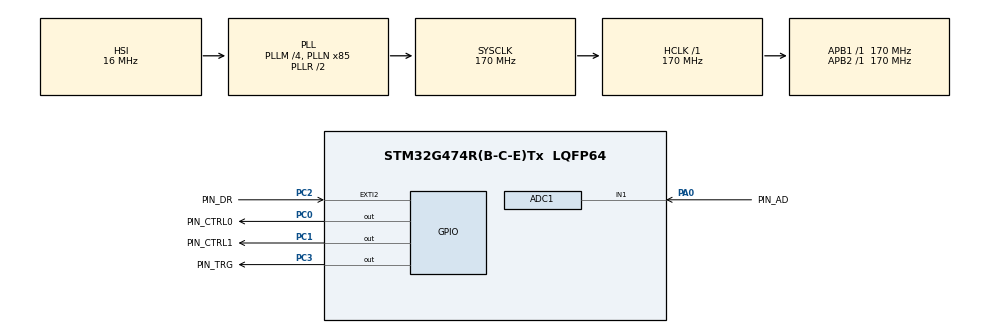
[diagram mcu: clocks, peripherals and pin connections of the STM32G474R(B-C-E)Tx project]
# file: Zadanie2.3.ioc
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ADC1.Channel-0\#ChannelRegularConversion=ADC_CHANNEL_1
ADC1.NbrOfConversionFlag=1
ADC1.OffsetNumber-0\#ChannelRegularConversion=ADC_OFFSET_NONE
ADC1.Rank-0\#ChannelRegularConversion=1
ADC1.SamplingTime-0\#ChannelRegularConversion=ADC_SAMPLETIME_2CYCLES_5
ADC1.master=1
Mcu.Family=STM32G4
Mcu.Name=STM32G474R(B-C-E)Tx
Mcu.Package=LQFP64
NVIC.ADC1_2_IRQn=true\:0\:0\:false\:false\:true\:true\:true\:true
NVIC.EXTI2_IRQn=true\:0\:0\:false\:false\:true\:true\:true\:true
NVIC.PriorityGroup=NVIC_PRIORITYGROUP_4
NVIC.TIM2_IRQn=true\:0\:0\:false\:false\:true\:true\:true\:true
PA0.GPIO_Label=PIN_AD
PA0.Mode=IN1-Single-Ended
PA0.Signal=ADC1_IN1
PC0.GPIO_Label=PIN_CTRL0
PC0.Signal=GPIO_Output
PC1.GPIO_Label=PIN_CTRL1
PC1.Signal=GPIO_Output
PC2.GPIO_Label=PIN_DR
PC2.GPIO_PuPd=GPIO_PULLDOWN
PC2.Signal=GPXTI2
PC3.GPIO_Label=PIN_TRG
PC3.Signal=GPIO_Output
ProjectManager.HeapSize=0x200
ProjectManager.StackSize=0x400
ProjectManager.TargetToolchain=CMake
RCC.ADC12Freq_Value=170000000
RCC.ADC345Freq_Value=170000000
RCC.AHBFreq_Value=170000000
RCC.APB1Freq_Value=170000000
RCC.APB1TimFreq_Value=170000000
RCC.APB2Freq_Value=170000000
RCC.APB2TimFreq_Value=170000000
RCC.CortexFreq_Value=170000000
RCC.EXTERNAL_CLOCK_VALUE=12288000
RCC.HCLKFreq_Value=170000000
RCC.HSE_VALUE=8000000
RCC.HSI48_VALUE=48000000
RCC.HSI_VALUE=16000000
RCC.LSE_VALUE=32768
RCC.PLLM=RCC_PLLM_DIV4
RCC.PLLN=85
RCC.SYSCLKFreq_VALUE=170000000
RCC.SYSCLKSource=RCC_SYSCLKSOURCE_PLLCLK
RCC.USBFreq_Value=170000000
RCC.VCOOutputFreq_Value=340000000
TIM2.PeriodNoDither=100
TIM2.Prescaler=17000
VP_SYS_VS_DBSignals.Mode=DisableDeadBatterySignals
VP_TIM2_VS_ClockSourceINT.Mode=Internal
board=custom

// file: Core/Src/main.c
/* USER CODE BEGIN Header */
/**
  ******************************************************************************
  * @file           : main.c
  * @brief          : Main program body
  ******************************************************************************
  * @attention
  *
  * Copyright (c) 2025 STMicroelectronics.
  * All rights reserved.
  *
  * This software is licensed under terms that can be found in the LICENSE file
  * in the root directory of this software component.
  * If no LICENSE file comes with this software, it is provided AS-IS.
  *
  ******************************************************************************
  */
/* USER CODE END Header */
#include "main.h"

/* USER CODE BEGIN Includes */
#include "math.h"
/* USER CODE END Includes */

ADC_HandleTypeDef hadc1;

TIM_HandleTypeDef htim2;

void SystemClock_Config(void);
static void MX_GPIO_Init(void);
static void MX_ADC1_Init(void);
static void MX_TIM2_Init(void);

/* USER CODE BEGIN 0 */

#define MAX_ADC_VAL 4095 // // ADC resolution -> 2 ^ 12 - 1

enum SoilMeasurementType
{
	Moisture,
	pH,
	Temperature,
	Max
} currentSoilMeasurementType = Moisture;

struct SoilValues{
	float moisture;
	float pH;
	float temperature;
} soilValues={0,0,0}; // Always up to date measurements

struct SoilMeasurementsSettings
{
	float minSoilMoistureV;
	float maxSoilMoistureV;
	float minSoilMoisture;
	float maxSoilMoisture;

	float refPH;
	float refPHV;

	float refT0AtV0;
	float refV0AtT0;
	float kFactor;
} soilMeasurementsSettings = {0,MAX_ADC_VAL,0,0,7,MAX_ADC_VAL/2,273,0,0.25f/MAX_ADC_VAL};

uint8_t soilMeasurementInProgress = 0, measureSoilInLoop = 0;

void StartSoilMeasurement(enum SoilMeasurementType type)
{
	if (soilMeasurementInProgress) return;
	uint8_t ctrl0, ctrl1;
	switch(type)
	{
	case Moisture: ctrl0 = 0; ctrl1 = 0;
		break;
	case pH: ctrl0 = 0; ctrl1 = 1;
		break;
	case Temperature: ctrl0 = 1; ctrl1 = 0;
		break;
	default: return;
	}

	currentSoilMeasurementType = type;
	soilMeasurementInProgress = 1;
	HAL_GPIO_WritePin(PIN_CTRL0_GPIO_Port, PIN_CTRL0_Pin, ctrl0);
	HAL_GPIO_WritePin(PIN_CTRL1_GPIO_Port, PIN_CTRL1_Pin, ctrl1);

	HAL_GPIO_WritePin(PIN_TRG_GPIO_Port, PIN_TRG_Pin, 1);
	HAL_TIM_Base_Start_IT(&htim2);
}

void StartSoilMeasurementsInLoop()
{
	  measureSoilInLoop = 1;
	  StartSoilMeasurement(Moisture);
}

void StopSoilMeasurement()
{
	soilMeasurementInProgress = 0;
}

void ProcessSoilMeasurement()
{
	if (!soilMeasurementInProgress) return;
		const float soilMeasurement = HAL_ADC_GetValue(&hadc1);

		switch(currentSoilMeasurementType)
		{
		case Moisture:
			soilValues.moisture = (soilMeasurement - soilMeasurementsSettings.minSoilMoistureV) /
								  (soilMeasurementsSettings.maxSoilMoistureV - soilMeasurementsSettings.minSoilMoistureV) *
								  (soilMeasurementsSettings.maxSoilMoisture - soilMeasurementsSettings.minSoilMoisture) +
								  soilMeasurementsSettings.minSoilMoisture;
			break;
		case pH:
			soilValues.pH = soilMeasurementsSettings.refPH + log10f(soilMeasurement / soilMeasurementsSettings.refPHV);
			break;
		case Temperature:
			soilValues.temperature = soilMeasurementsSettings.refT0AtV0 *
									 expf(soilMeasurementsSettings.kFactor * (soilMeasurement - soilMeasurementsSettings.refV0AtT0));
			break;
		default: return;
		}

		soilMeasurementInProgress = 0;
		if (measureSoilInLoop)
			StartSoilMeasurement((currentSoilMeasurementType + 1) % (uint8_t)Max);
}

void HAL_ADC_ConvCpltCallback(ADC_HandleTypeDef *hadc)
{
	ProcessSoilMeasurement();
}

void SoilDataReady()
{
	if (!soilMeasurementInProgress) return;
	HAL_ADC_Start_IT(&hadc1);
}

void HAL_GPIO_EXTI_Callback(uint16_t GPIO_Pin)
{
	if (GPIO_Pin == PIN_DR_Pin) SoilDataReady();
}

void HAL_TIM_PeriodElapsedCallback(TIM_HandleTypeDef *htim)
{
	if (htim == &htim2)
	{
		HAL_TIM_Base_Stop_IT(&htim2);
		HAL_GPIO_WritePin(PIN_TRG_GPIO_Port, PIN_TRG_Pin, 0);
	}
}
/* USER CODE END 0 */

int main(void)
{

  /* MCU Configuration--------------------------------------------------------*/

  /* Reset of all peripherals, Initializes the Flash interface and the Systick. */
  HAL_Init();

  /* Configure the system clock */
  SystemClock_Config();

  /* Initialize all configured peripherals */
  MX_GPIO_Init();
  MX_ADC1_Init();
  MX_TIM2_Init();
  /* USER CODE BEGIN 2 */

  // Start measuring soil in loop
  StartSoilMeasurementsInLoop();
  /* USER CODE END 2 */

  /* Infinite loop */
  while (1)
  {

  }
}

void SystemClock_Config(void)
{
  RCC_OscInitTypeDef RCC_OscInitStruct = {0};
  RCC_ClkInitTypeDef RCC_ClkInitStruct = {0};

  /** Configure the main internal regulator output voltage
  */
  HAL_PWREx_ControlVoltageScaling(PWR_REGULATOR_VOLTAGE_SCALE1_BOOST);

  /** Initializes the RCC Oscillators according to the specified parameters
  * in the RCC_OscInitTypeDef structure.
  */
  RCC_OscInitStruct.OscillatorType = RCC_OSCILLATORTYPE_HSI;
  RCC_OscInitStruct.HSIState = RCC_HSI_ON;
  RCC_OscInitStruct.HSICalibrationValue = RCC_HSICALIBRATION_DEFAULT;
  RCC_OscInitStruct.PLL.PLLState = RCC_PLL_ON;
  RCC_OscInitStruct.PLL.PLLSource = RCC_PLLSOURCE_HSI;
  RCC_OscInitStruct.PLL.PLLM = RCC_PLLM_DIV4;
  RCC_OscInitStruct.PLL.PLLN = 85;
  RCC_OscInitStruct.PLL.PLLP = RCC_PLLP_DIV2;
  RCC_OscInitStruct.PLL.PLLQ = RCC_PLLQ_DIV2;
  RCC_OscInitStruct.PLL.PLLR = RCC_PLLR_DIV2;
  if (HAL_RCC_OscConfig(&RCC_OscInitStruct) != HAL_OK)
  {
    Error_Handler();
  }

  /** Initializes the CPU, AHB and APB buses clocks
  */
  RCC_ClkInitStruct.ClockType = RCC_CLOCKTYPE_HCLK|RCC_CLOCKTYPE_SYSCLK
                              |RCC_CLOCKTYPE_PCLK1|RCC_CLOCKTYPE_PCLK2;
  RCC_ClkInitStruct.SYSCLKSource = RCC_SYSCLKSOURCE_PLLCLK;
  RCC_ClkInitStruct.AHBCLKDivider = RCC_SYSCLK_DIV1;
  RCC_ClkInitStruct.APB1CLKDivider = RCC_HCLK_DIV1;
  RCC_ClkInitStruct.APB2CLKDivider = RCC_HCLK_DIV1;

  if (HAL_RCC_ClockConfig(&RCC_ClkInitStruct, FLASH_LATENCY_4) != HAL_OK)
  {
    Error_Handler();
  }
}

static void MX_ADC1_Init(void)
{

  ADC_MultiModeTypeDef multimode = {0};
  ADC_ChannelConfTypeDef sConfig = {0};

  /** Common config
  */
  hadc1.Instance = ADC1;
  hadc1.Init.ClockPrescaler = ADC_CLOCK_SYNC_PCLK_DIV4;
  hadc1.Init.Resolution = ADC_RESOLUTION_12B;
  hadc1.Init.DataAlign = ADC_DATAALIGN_RIGHT;
  hadc1.Init.GainCompensation = 0;
  hadc1.Init.ScanConvMode = ADC_SCAN_DISABLE;
  hadc1.Init.EOCSelection = ADC_EOC_SINGLE_CONV;
  hadc1.Init.LowPowerAutoWait = DISABLE;
  hadc1.Init.ContinuousConvMode = DISABLE;
  hadc1.Init.NbrOfConversion = 1;
  hadc1.Init.DiscontinuousConvMode = DISABLE;
  hadc1.Init.ExternalTrigConv = ADC_SOFTWARE_START;
  hadc1.Init.ExternalTrigConvEdge = ADC_EXTERNALTRIGCONVEDGE_NONE;
  hadc1.Init.DMAContinuousRequests = DISABLE;
  hadc1.Init.Overrun = ADC_OVR_DATA_PRESERVED;
  hadc1.Init.OversamplingMode = DISABLE;
  if (HAL_ADC_Init(&hadc1) != HAL_OK)
  {
    Error_Handler();
  }

  /** Configure the ADC multi-mode
  */
  multimode.Mode = ADC_MODE_INDEPENDENT;
  if (HAL_ADCEx_MultiModeConfigChannel(&hadc1, &multimode) != HAL_OK)
  {
    Error_Handler();
  }

  /** Configure Regular Channel
  */
  sConfig.Channel = ADC_CHANNEL_1;
  sConfig.Rank = ADC_REGULAR_RANK_1;
  sConfig.SamplingTime = ADC_SAMPLETIME_2CYCLES_5;
  sConfig.SingleDiff = ADC_SINGLE_ENDED;
  sConfig.OffsetNumber = ADC_OFFSET_NONE;
  sConfig.Offset = 0;
  if (HAL_ADC_ConfigChannel(&hadc1, &sConfig) != HAL_OK)
  {
    Error_Handler();
  }

}

static void MX_TIM2_Init(void)
{

  TIM_ClockConfigTypeDef sClockSourceConfig = {0};
  TIM_MasterConfigTypeDef sMasterConfig = {0};

  htim2.Instance = TIM2;
  htim2.Init.Prescaler = 17000;
  htim2.Init.CounterMode = TIM_COUNTERMODE_UP;
  htim2.Init.Period = 100;
  htim2.Init.ClockDivision = TIM_CLOCKDIVISION_DIV1;
  htim2.Init.AutoReloadPreload = TIM_AUTORELOAD_PRELOAD_DISABLE;
  if (HAL_TIM_Base_Init(&htim2) != HAL_OK)
  {
    Error_Handler();
  }
  sClockSourceConfig.ClockSource = TIM_CLOCKSOURCE_INTERNAL;
  if (HAL_TIM_ConfigClockSource(&htim2, &sClockSourceConfig) != HAL_OK)
  {
    Error_Handler();
  }
  sMasterConfig.MasterOutputTrigger = TIM_TRGO_RESET;
  sMasterConfig.MasterSlaveMode = TIM_MASTERSLAVEMODE_DISABLE;
  if (HAL_TIMEx_MasterConfigSynchronization(&htim2, &sMasterConfig) != HAL_OK)
  {
    Error_Handler();
  }

}

static void MX_GPIO_Init(void)
{
  GPIO_InitTypeDef GPIO_InitStruct = {0};

  /* GPIO Ports Clock Enable */
  __HAL_RCC_GPIOC_CLK_ENABLE();
  __HAL_RCC_GPIOA_CLK_ENABLE();

  /*Configure GPIO pin Output Level */
  HAL_GPIO_WritePin(GPIOC, PIN_CTRL0_Pin|PIN_CTRL1_Pin|PIN_TRG_Pin, GPIO_PIN_RESET);

  /*Configure GPIO pins : PIN_CTRL0_Pin PIN_CTRL1_Pin PIN_TRG_Pin */
  GPIO_InitStruct.Pin = PIN_CTRL0_Pin|PIN_CTRL1_Pin|PIN_TRG_Pin;
  GPIO_InitStruct.Mode = GPIO_MODE_OUTPUT_PP;
  GPIO_InitStruct.Pull = GPIO_NOPULL;
  GPIO_InitStruct.Speed = GPIO_SPEED_FREQ_LOW;
  HAL_GPIO_Init(GPIOC, &GPIO_InitStruct);

  /*Configure GPIO pin : PIN_DR_Pin */
  GPIO_InitStruct.Pin = PIN_DR_Pin;
  GPIO_InitStruct.Mode = GPIO_MODE_IT_RISING;
  GPIO_InitStruct.Pull = GPIO_PULLDOWN;
  HAL_GPIO_Init(PIN_DR_GPIO_Port, &GPIO_InitStruct);

  /* EXTI interrupt init*/
  HAL_NVIC_SetPriority(EXTI2_IRQn, 0, 0);
  HAL_NVIC_EnableIRQ(EXTI2_IRQn);

}

void Error_Handler(void)
{
  __disable_irq();
  while (1)
  {
  }
}
